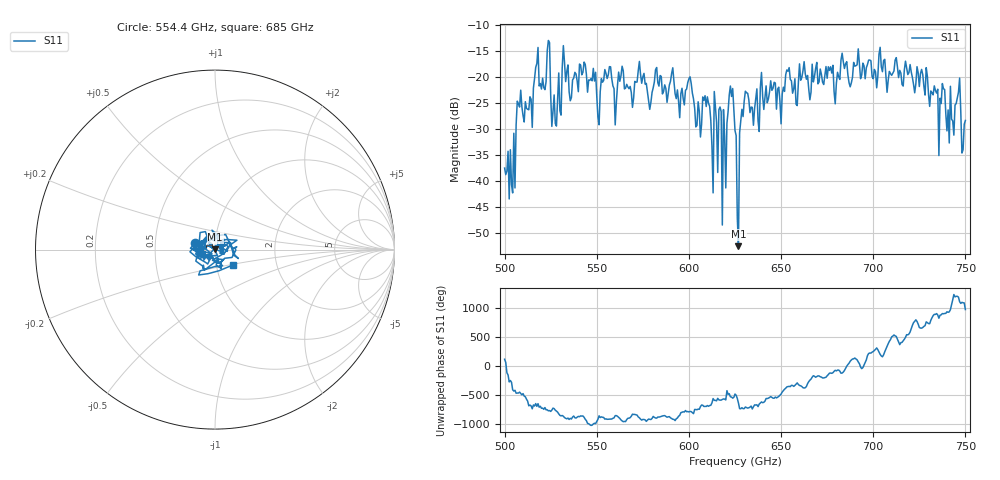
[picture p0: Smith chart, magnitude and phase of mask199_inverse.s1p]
!Created with skrf (http://scikit-rf.org).
# GHz S MA R 50.0
!freq magS11 angS11
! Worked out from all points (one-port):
!   401 points, 500 GHz to 750 GHz, reference 50 ohm
!   lowest |S11| = -52.6 dB at 626.9 GHz (marker M1), VSWR 1.00, Z = 50 + j0.231 ohm
!   |S11| at or under -10 dB: start of sweep to end of sweep
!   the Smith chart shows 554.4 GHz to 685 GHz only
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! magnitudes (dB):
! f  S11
! 500 GHz  -37.6
! 504.4 GHz  -42.4
! 507.5 GHz  -25.2
! 513.8 GHz  -23.9
! 516.9 GHz  -18.2
! 521.2 GHz  -22.1
! 523.8 GHz  -13.0
! 526.9 GHz  -23.5
! 531.2 GHz  -18.4
! 542.5 GHz  -19.2
! 551.2 GHz  -29.3
! 562.5 GHz  -20.9
! 593.8 GHz  -22.5
! 610 GHz  -23.9
! 611.9 GHz  -28.4
! 615 GHz  -28.8
! 619.4 GHz  -31.5
! 623.1 GHz  -23.8
! 625 GHz  -30.4
! 626.9 GHz  -52.6
! 628.8 GHz  -26.3
! 631.2 GHz  -23.1
! 656.2 GHz  -23.2
! 687.5 GHz  -22.0
! 718.8 GHz  -19.6
! 742.5 GHz  -28.2
! 745.6 GHz  -24.1
! 750 GHz  -28.4
